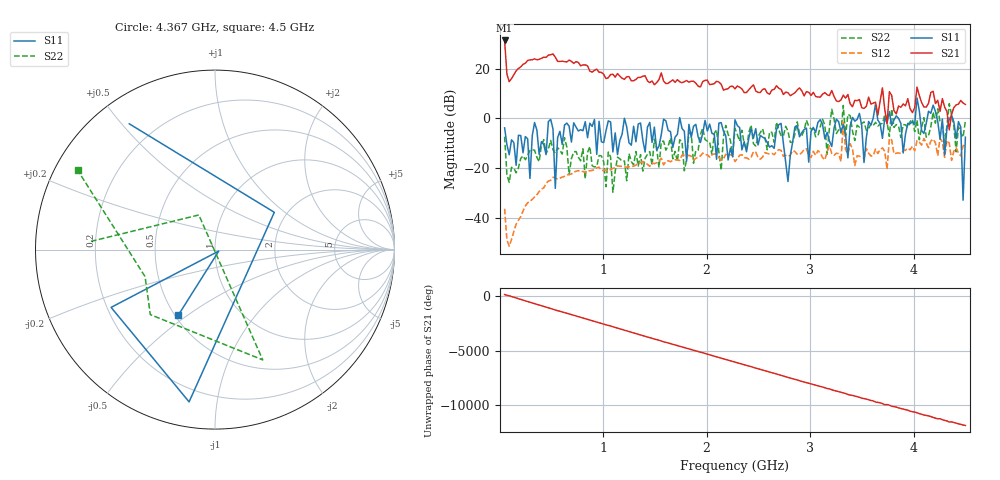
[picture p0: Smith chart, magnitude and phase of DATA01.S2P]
! Network Analyzer HP8722ES.07.74: Oct 30, 2002 Serial No. US39175660
! Hewlett-Packard
! 31 May 2012  17:15:56
! Frequency  S11  S21  S12  S22
# HZ  S  DB R  50
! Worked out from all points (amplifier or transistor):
!   201 points, 50 MHz to 4.5 GHz, reference 50 ohm
!   highest |S21| = 31.3 dB at 50 MHz (marker M1)
!   |S21| within 3 dB of that: start of sweep to 54.92 MHz
!   unconditionally stable (mu >= 1): 50.73 MHz to 329.4 MHz; 367.4 MHz to 421.9 MHz; 2.497 GHz to 2.522 GHz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
!   at 784.2 MHz: K = 0.86, MSG = 21.3 dB, |S12| = -21.6 dB
!   at 2.275 GHz: K = 0.79, MSG = 14.6 dB, |S12| = -17.4 dB
!   at 4.5 GHz: K = 0.81, MSG = 8.2 dB, |S12| = -10.8 dB
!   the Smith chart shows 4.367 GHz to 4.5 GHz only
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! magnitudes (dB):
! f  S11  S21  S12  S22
! 50 MHz  -3.8  31.3  -36.3  -7.4
! 94.5 MHz  -14.6  14.8  -51.4  -25.7
! 294.8 MHz  -24.2  23.5  -33.3  -12.9
! 339.2 MHz  -1.7  23.9  -31.6  -12.8
! 495 MHz  -0.4  25.6  -24.9  -8.9
! 539.5 MHz  -28.1  24.6  -23.8  -14.0
! 584 MHz  -5.2  22.9  -24.1  -12.8
! 806.5 MHz  -5.0  21.5  -21.3  -12.2
! 1.541 GHz  -11.2  15.6  -17.2  -19.8
! 2.275 GHz  -0.6  11.8  -17.4  -4.1
! 2.72 GHz  -2.0  11.6  -12.8  -6.9
! 2.787 GHz  -25.4  10.3  -15.4  -5.2
! 2.853 GHz  -3.5  10.3  -13.3  -6.3
! 3.031 GHz  -3.6  10.5  -13.2  -4.0
! 3.365 GHz  -15.9  9.6  -14.3  1.6
! 3.477 GHz  2.0  7.6  -15.2  -3.5
! 3.521 GHz  -17.7  4.0  -16.1  -1.4
! 3.766 GHz  2.7  10.7  -8.1  -7.3
! 3.899 GHz  -13.9  5.8  -13.0  -2.5
! 4.433 GHz  -1.3  5.7  -14.0  -3.5
! 4.478 GHz  -32.9  6.1  -10.9  -7.6
! 4.5 GHz  -7.6  5.6  -10.8  -1.1
